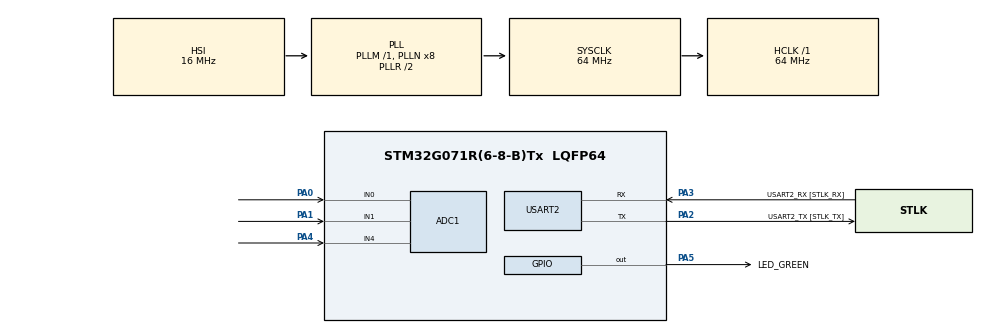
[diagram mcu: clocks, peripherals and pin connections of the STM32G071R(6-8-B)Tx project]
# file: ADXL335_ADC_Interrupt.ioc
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ADC1.Channel-0\#ChannelRegularConversion=ADC_CHANNEL_0
ADC1.Channel-1\#ChannelRegularConversion=ADC_CHANNEL_1
ADC1.Channel-2\#ChannelRegularConversion=ADC_CHANNEL_4
ADC1.ClockPrescaler=ADC_CLOCK_SYNC_PCLK_DIV4
ADC1.ContinuousConvMode=ENABLE
ADC1.EOCSelection=ADC_EOC_SEQ_CONV
ADC1.NbrOfConversion=3
ADC1.NbrOfConversionFlag=1
ADC1.Overrun=ADC_OVR_DATA_PRESERVED
ADC1.Rank-0\#ChannelRegularConversion=1
ADC1.Rank-1\#ChannelRegularConversion=2
ADC1.Rank-2\#ChannelRegularConversion=3
ADC1.SamplingTime-0\#ChannelRegularConversion=ADC_SAMPLINGTIME_COMMON_1
ADC1.SamplingTime-1\#ChannelRegularConversion=ADC_SAMPLINGTIME_COMMON_1
ADC1.SamplingTime-2\#ChannelRegularConversion=ADC_SAMPLINGTIME_COMMON_1
ADC1.SelectedChannel=ADC_CHANNEL_0|ADC_CHANNEL_1|ADC_CHANNEL_4
ADC1.master=1
Mcu.Family=STM32G0
Mcu.Name=STM32G071R(6-8-B)Tx
Mcu.Package=LQFP64
NVIC.ADC1_COMP_IRQn=true\:1\:0\:true\:false\:true\:true\:true\:true
PA0.Mode=IN0
PA0.Signal=ADC1_IN0
PA1.Mode=IN1
PA1.Signal=ADC1_IN1
PA13.GPIO_Label=TMS
PA13.Mode=Serial_Wire
PA13.Signal=SYS_SWDIO
PA14-BOOT0.GPIO_Label=TCK
PA14-BOOT0.Mode=Serial_Wire
PA14-BOOT0.Signal=SYS_SWCLK
PA2.GPIO_Label=USART2_TX [STLK_TX]
PA2.GPIO_PuPd=GPIO_PULLUP
PA2.Mode=Asynchronous
PA2.Signal=USART2_TX
PA3.GPIO_Label=USART2_RX [STLK_RX]
PA3.GPIO_PuPd=GPIO_PULLUP
PA3.Mode=Asynchronous
PA3.Signal=USART2_RX
PA4.Mode=IN4
PA4.Signal=ADC1_IN4
PA5.GPIO_Label=LED_GREEN
PA5.GPIO_Speed=GPIO_SPEED_FREQ_HIGH
PA5.Signal=GPIO_Output
PC13.Mode=SYS_WakeUp1
PC13.Signal=SYS_WKUP2
PC14-OSC32_IN\ (PC14).Mode=LSE-External-Oscillator
PC14-OSC32_IN\ (PC14).Signal=RCC_OSC32_IN
PC15-OSC32_OUT\ (PC15).Mode=LSE-External-Oscillator
PC15-OSC32_OUT\ (PC15).Signal=RCC_OSC32_OUT
PF0-OSC_IN\ (PF0).GPIO_Label=MCO
PF0-OSC_IN\ (PF0).Mode=HSE-External-Clock-Source
PF0-OSC_IN\ (PF0).Signal=RCC_OSC_IN
ProjectManager.HeapSize=0x200
ProjectManager.StackSize=0x400
ProjectManager.TargetToolchain=STM32CubeIDE
RCC.ADCFreq_Value=64000000
RCC.AHBFreq_Value=64000000
RCC.CortexFreq_Value=64000000
RCC.EXTERNAL_CLOCK_VALUE=12288000
RCC.HCLKFreq_Value=64000000
RCC.HSE_VALUE=8000000
RCC.HSI_VALUE=16000000
RCC.SYSCLKFreq_VALUE=64000000
RCC.SYSCLKSource=RCC_SYSCLKSOURCE_PLLCLK
RCC.VCOOutputFreq_Value=128000000
USART2.VirtualMode-Asynchronous=VM_ASYNC
board=NUCLEO-G071RB

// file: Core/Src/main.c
/* USER CODE BEGIN Header */
/**
  ******************************************************************************
  * @file           : main.c
  * @brief          : Main program body
  ******************************************************************************
  * @attention
  *
  * Copyright (c) 2023 STMicroelectronics.
  * All rights reserved.
  *
  * This software is licensed under terms that can be found in the LICENSE file
  * in the root directory of this software component.
  * If no LICENSE file comes with this software, it is provided AS-IS.
  *
  ******************************************************************************
  */
/* USER CODE END Header */
#include "main.h"

ADC_HandleTypeDef hadc1;

UART_HandleTypeDef huart2;

void SystemClock_Config(void);
static void MX_GPIO_Init(void);
static void MX_USART2_UART_Init(void);
static void MX_ADC1_Init(void);

/* USER CODE BEGIN 0 */
__IO uint8_t uADCConversionCpltFlag = 0;
uint32_t uiADCRawValueBuffer[3];
double Xout, Yout, Zout;

void HAL_ADC_ConvCpltCallback(ADC_HandleTypeDef *hadc)
{
  /* Prevent unused argument(s) compilation warning */
  UNUSED(hadc);

  /* NOTE : This function should not be modified. When the callback is needed,
            function HAL_ADC_ConvCpltCallback must be implemented in the user file.
   */
  uADCConversionCpltFlag = 1;
}
/* USER CODE END 0 */

int main(void)
{

  /* MCU Configuration--------------------------------------------------------*/

  /* Reset of all peripherals, Initializes the Flash interface and the Systick. */
  HAL_Init();

  /* Configure the system clock */
  SystemClock_Config();

  /* Initialize all configured peripherals */
  MX_GPIO_Init();
  MX_USART2_UART_Init();
  MX_ADC1_Init();
  /* USER CODE BEGIN 2 */
  HAL_ADC_Start_IT(&hadc1);
  /* USER CODE END 2 */

  /* Infinite loop */
  while (1)
  {

    /* USER CODE BEGIN 3 */
	  if (uADCConversionCpltFlag) {
		for (int var = 0; var < 3; var++) {
			uiADCRawValueBuffer[var] = HAL_ADC_GetValue(&hadc1);
		}

		Xout = ( (((double)(uiADCRawValueBuffer[0]*3.3)/4095.0) - 1.65) / 0.330 );
		Yout = ( (((double)(uiADCRawValueBuffer[1]*3.3)/4095.0) - 1.65) / 0.330 );
		Zout = ( (((double)(uiADCRawValueBuffer[2]*3.3)/4095.0) - 1.80) / 0.330 );

		uADCConversionCpltFlag = 0;
		HAL_Delay(1000);
	}
  }
  /* USER CODE END 3 */
}

void SystemClock_Config(void)
{
  RCC_OscInitTypeDef RCC_OscInitStruct = {0};
  RCC_ClkInitTypeDef RCC_ClkInitStruct = {0};

  /** Configure the main internal regulator output voltage
  */
  HAL_PWREx_ControlVoltageScaling(PWR_REGULATOR_VOLTAGE_SCALE1);

  /** Initializes the RCC Oscillators according to the specified parameters
  * in the RCC_OscInitTypeDef structure.
  */
  RCC_OscInitStruct.OscillatorType = RCC_OSCILLATORTYPE_HSI;
  RCC_OscInitStruct.HSIState = RCC_HSI_ON;
  RCC_OscInitStruct.HSIDiv = RCC_HSI_DIV1;
  RCC_OscInitStruct.HSICalibrationValue = RCC_HSICALIBRATION_DEFAULT;
  RCC_OscInitStruct.PLL.PLLState = RCC_PLL_ON;
  RCC_OscInitStruct.PLL.PLLSource = RCC_PLLSOURCE_HSI;
  RCC_OscInitStruct.PLL.PLLM = RCC_PLLM_DIV1;
  RCC_OscInitStruct.PLL.PLLN = 8;
  RCC_OscInitStruct.PLL.PLLP = RCC_PLLP_DIV2;
  RCC_OscInitStruct.PLL.PLLQ = RCC_PLLQ_DIV2;
  RCC_OscInitStruct.PLL.PLLR = RCC_PLLR_DIV2;
  if (HAL_RCC_OscConfig(&RCC_OscInitStruct) != HAL_OK)
  {
    Error_Handler();
  }

  /** Initializes the CPU, AHB and APB buses clocks
  */
  RCC_ClkInitStruct.ClockType = RCC_CLOCKTYPE_HCLK|RCC_CLOCKTYPE_SYSCLK
                              |RCC_CLOCKTYPE_PCLK1;
  RCC_ClkInitStruct.SYSCLKSource = RCC_SYSCLKSOURCE_PLLCLK;
  RCC_ClkInitStruct.AHBCLKDivider = RCC_SYSCLK_DIV1;
  RCC_ClkInitStruct.APB1CLKDivider = RCC_HCLK_DIV1;

  if (HAL_RCC_ClockConfig(&RCC_ClkInitStruct, FLASH_LATENCY_2) != HAL_OK)
  {
    Error_Handler();
  }
}

static void MX_ADC1_Init(void)
{

  ADC_ChannelConfTypeDef sConfig = {0};

  /** Configure the global features of the ADC (Clock, Resolution, Data Alignment and number of conversion)
  */
  hadc1.Instance = ADC1;
  hadc1.Init.ClockPrescaler = ADC_CLOCK_SYNC_PCLK_DIV4;
  hadc1.Init.Resolution = ADC_RESOLUTION_12B;
  hadc1.Init.DataAlign = ADC_DATAALIGN_RIGHT;
  hadc1.Init.ScanConvMode = ADC_SCAN_ENABLE;
  hadc1.Init.EOCSelection = ADC_EOC_SEQ_CONV;
  hadc1.Init.LowPowerAutoWait = DISABLE;
  hadc1.Init.LowPowerAutoPowerOff = DISABLE;
  hadc1.Init.ContinuousConvMode = ENABLE;
  hadc1.Init.NbrOfConversion = 3;
  hadc1.Init.ExternalTrigConv = ADC_SOFTWARE_START;
  hadc1.Init.ExternalTrigConvEdge = ADC_EXTERNALTRIGCONVEDGE_NONE;
  hadc1.Init.DMAContinuousRequests = DISABLE;
  hadc1.Init.Overrun = ADC_OVR_DATA_PRESERVED;
  hadc1.Init.SamplingTimeCommon1 = ADC_SAMPLETIME_1CYCLE_5;
  hadc1.Init.SamplingTimeCommon2 = ADC_SAMPLETIME_1CYCLE_5;
  hadc1.Init.OversamplingMode = DISABLE;
  hadc1.Init.TriggerFrequencyMode = ADC_TRIGGER_FREQ_HIGH;
  if (HAL_ADC_Init(&hadc1) != HAL_OK)
  {
    Error_Handler();
  }

  /** Configure Regular Channel
  */
  sConfig.Channel = ADC_CHANNEL_0;
  sConfig.Rank = ADC_REGULAR_RANK_1;
  sConfig.SamplingTime = ADC_SAMPLINGTIME_COMMON_1;
  if (HAL_ADC_ConfigChannel(&hadc1, &sConfig) != HAL_OK)
  {
    Error_Handler();
  }

  /** Configure Regular Channel
  */
  sConfig.Channel = ADC_CHANNEL_1;
  sConfig.Rank = ADC_REGULAR_RANK_2;
  if (HAL_ADC_ConfigChannel(&hadc1, &sConfig) != HAL_OK)
  {
    Error_Handler();
  }

  /** Configure Regular Channel
  */
  sConfig.Channel = ADC_CHANNEL_4;
  sConfig.Rank = ADC_REGULAR_RANK_3;
  if (HAL_ADC_ConfigChannel(&hadc1, &sConfig) != HAL_OK)
  {
    Error_Handler();
  }

}

static void MX_USART2_UART_Init(void)
{

  huart2.Instance = USART2;
  huart2.Init.BaudRate = 115200;
  huart2.Init.WordLength = UART_WORDLENGTH_8B;
  huart2.Init.StopBits = UART_STOPBITS_1;
  huart2.Init.Parity = UART_PARITY_NONE;
  huart2.Init.Mode = UART_MODE_TX_RX;
  huart2.Init.HwFlowCtl = UART_HWCONTROL_NONE;
  huart2.Init.OverSampling = UART_OVERSAMPLING_16;
  huart2.Init.OneBitSampling = UART_ONE_BIT_SAMPLE_DISABLE;
  huart2.Init.ClockPrescaler = UART_PRESCALER_DIV1;
  huart2.AdvancedInit.AdvFeatureInit = UART_ADVFEATURE_NO_INIT;
  if (HAL_UART_Init(&huart2) != HAL_OK)
  {
    Error_Handler();
  }
  if (HAL_UARTEx_SetTxFifoThreshold(&huart2, UART_TXFIFO_THRESHOLD_1_8) != HAL_OK)
  {
    Error_Handler();
  }
  if (HAL_UARTEx_SetRxFifoThreshold(&huart2, UART_RXFIFO_THRESHOLD_1_8) != HAL_OK)
  {
    Error_Handler();
  }
  if (HAL_UARTEx_DisableFifoMode(&huart2) != HAL_OK)
  {
    Error_Handler();
  }

}

static void MX_GPIO_Init(void)
{
  GPIO_InitTypeDef GPIO_InitStruct = {0};

  /* GPIO Ports Clock Enable */
  __HAL_RCC_GPIOC_CLK_ENABLE();
  __HAL_RCC_GPIOF_CLK_ENABLE();
  __HAL_RCC_GPIOA_CLK_ENABLE();

  /*Configure GPIO pin Output Level */
  HAL_GPIO_WritePin(LED_GREEN_GPIO_Port, LED_GREEN_Pin, GPIO_PIN_RESET);

  /*Configure GPIO pin : LED_GREEN_Pin */
  GPIO_InitStruct.Pin = LED_GREEN_Pin;
  GPIO_InitStruct.Mode = GPIO_MODE_OUTPUT_PP;
  GPIO_InitStruct.Pull = GPIO_NOPULL;
  GPIO_InitStruct.Speed = GPIO_SPEED_FREQ_HIGH;
  HAL_GPIO_Init(LED_GREEN_GPIO_Port, &GPIO_InitStruct);

}

void Error_Handler(void)
{
  __disable_irq();
  while (1)
  {
  }
}
